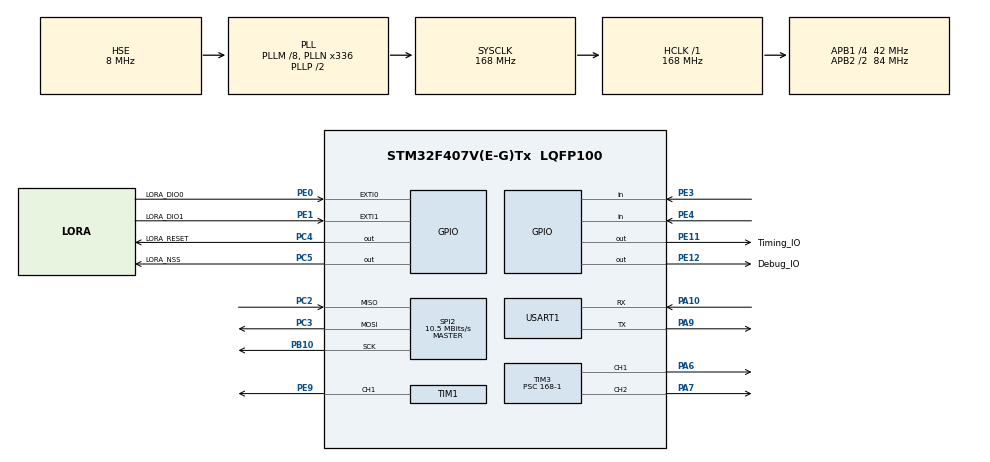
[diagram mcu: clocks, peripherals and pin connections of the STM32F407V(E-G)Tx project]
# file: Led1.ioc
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FREERTOS.Tasks01=MainLogicTask,24,1536,StartMainLogicTask,Default,NULL,Dynamic,NULL,NULL;SerialTask,16,1536,StartSerialTask,Default,NULL,Dynamic,NULL,NULL;LoRaTask,40,1536,StartLoRaTask,Default,NULL,Dynamic,NULL,NULL
FREERTOS.configCHECK_FOR_STACK_OVERFLOW=1
FREERTOS.configMINIMAL_STACK_SIZE=1536
FREERTOS.configTOTAL_HEAP_SIZE=32768
FREERTOS.configUSE_NEWLIB_REENTRANT=1
Mcu.Family=STM32F4
Mcu.Name=STM32F407V(E-G)Tx
Mcu.Package=LQFP100
NVIC.EXTI0_IRQn=true\:5\:0\:false\:false\:true\:true\:true\:true\:true
NVIC.EXTI1_IRQn=true\:5\:0\:false\:false\:true\:true\:true\:true\:true
NVIC.PriorityGroup=NVIC_PRIORITYGROUP_4
NVIC.RTC_WKUP_IRQn=true\:5\:0\:false\:false\:true\:true\:true\:true\:true
NVIC.TIM2_IRQn=true\:5\:0\:false\:false\:true\:true\:true\:true\:true
NVIC.TIM6_DAC_IRQn=true\:0\:0\:true\:false\:true\:false\:false\:true\:true
NVIC.TimeBase=TIM6_DAC_IRQn
NVIC.TimeBaseIP=TIM6
PA10.Mode=Asynchronous
PA10.Signal=USART1_RX
PA6.Signal=S_TIM3_CH1
PA7.Signal=S_TIM3_CH2
PA9.Mode=Asynchronous
PA9.Signal=USART1_TX
PB10.Mode=Full_Duplex_Master
PB10.Signal=SPI2_SCK
PC14-OSC32_IN.GPIO_Label=RTC_IN
PC14-OSC32_IN.Mode=LSE-External-Oscillator
PC14-OSC32_IN.Signal=RCC_OSC32_IN
PC15-OSC32_OUT.GPIO_Label=RTC_OUT
PC15-OSC32_OUT.Mode=LSE-External-Oscillator
PC15-OSC32_OUT.Signal=RCC_OSC32_OUT
PC2.Mode=Full_Duplex_Master
PC2.Signal=SPI2_MISO
PC3.Mode=Full_Duplex_Master
PC3.Signal=SPI2_MOSI
PC4.GPIO_Label=LORA_RESET
PC4.Signal=GPIO_Output
PC5.GPIO_Label=LORA_NSS
PC5.Signal=GPIO_Output
PE0.GPIO_Label=LORA_DIO0
PE0.Signal=GPXTI0
PE1.GPIO_Label=LORA_DIO1
PE1.Signal=GPXTI1
PE11.GPIO_Label=Timing_IO
PE11.Signal=GPIO_Output
PE12.GPIO_Label=Debug_IO
PE12.Signal=GPIO_Output
PE3.GPIO_PuPd=GPIO_PULLUP
PE3.Signal=GPIO_Input
PE4.GPIO_PuPd=GPIO_PULLUP
PE4.Signal=GPIO_Input
PE9.Signal=S_TIM1_CH1
PH0-OSC_IN.Mode=HSE-External-Oscillator
PH0-OSC_IN.Signal=RCC_OSC_IN
PH1-OSC_OUT.Mode=HSE-External-Oscillator
PH1-OSC_OUT.Signal=RCC_OSC_OUT
ProjectManager.HeapSize=0x200
ProjectManager.StackSize=0x400
ProjectManager.TargetToolchain=STM32CubeIDE
RCC.48MHZClocksFreq_Value=84000000
RCC.AHBFreq_Value=168000000
RCC.APB1CLKDivider=RCC_HCLK_DIV4
RCC.APB1Freq_Value=42000000
RCC.APB1TimFreq_Value=84000000
RCC.APB2CLKDivider=RCC_HCLK_DIV2
RCC.APB2Freq_Value=84000000
RCC.APB2TimFreq_Value=168000000
RCC.CortexFreq_Value=168000000
RCC.HCLKFreq_Value=168000000
RCC.HSE_VALUE=8000000
RCC.HSI_VALUE=16000000
RCC.PLLM=8
RCC.PLLN=336
RCC.PLLSourceVirtual=RCC_PLLSOURCE_HSE
RCC.RCC_RTC_Clock_Source=RCC_RTCCLKSOURCE_LSE
RCC.SYSCLKFreq_VALUE=168000000
RCC.SYSCLKSource=RCC_SYSCLKSOURCE_PLLCLK
RCC.VCOOutputFreq_Value=336000000
SH.S_TIM1_CH1.0=TIM1_CH1,PWM Generation1 CH1
SH.S_TIM3_CH1.0=TIM3_CH1,PWM Generation1 CH1
SH.S_TIM3_CH2.0=TIM3_CH2,PWM Generation2 CH2
SPI2.BaudRatePrescaler=SPI_BAUDRATEPRESCALER_4
SPI2.CalculateBaudRate=10.5 MBits/s
SPI2.Direction=SPI_DIRECTION_2LINES
SPI2.Mode=SPI_MODE_MASTER
SPI2.VirtualType=VM_MASTER
TIM1.Channel-PWM\ Generation1\ CH1=TIM_CHANNEL_1
TIM1.Period=999
TIM1.Prescaler=167
TIM1.Pulse-PWM\ Generation1\ CH1=500
TIM2.Period=1000
TIM2.Prescaler=16799
TIM3.Channel-PWM\ Generation1\ CH1=TIM_CHANNEL_1
TIM3.Channel-PWM\ Generation2\ CH2=TIM_CHANNEL_2
TIM3.OCMode_PWM-PWM\ Generation2\ CH2=TIM_OCMODE_PWM1
TIM3.OCPolarity_1=TIM_OCPOLARITY_LOW
TIM3.OCPolarity_2=TIM_OCPOLARITY_LOW
TIM3.Period=1000-1
TIM3.Prescaler=168-1
TIM3.Pulse-PWM\ Generation1\ CH1=5
TIM3.Pulse-PWM\ Generation2\ CH2=25
TIM5.Prescaler=83
USART1.VirtualMode=VM_ASYNC
VP_FREERTOS_VS_CMSIS_V2.Mode=CMSIS_V2
VP_RTC_VS_RTC_Activate.Mode=RTC_Enabled
VP_RTC_VS_RTC_WakeUp_intern.Mode=WakeUp
VP_SYS_VS_tim6.Mode=TIM6
VP_TIM1_VS_ClockSourceINT.Mode=Internal
VP_TIM2_VS_ClockSourceINT.Mode=Internal
VP_TIM5_VS_ClockSourceINT.Mode=Internal
board=custom

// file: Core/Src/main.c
/* USER CODE BEGIN Header */
/**
  ******************************************************************************
  * @file           : main.c
  * @brief          : Main program body
  ******************************************************************************
  * @attention
  *
  * Copyright (c) 2026 STMicroelectronics.
  * All rights reserved.
  *
  * This software is licensed under terms that can be found in the LICENSE file
  * in the root directory of this software component.
  * If no LICENSE file comes with this software, it is provided AS-IS.
  *
  ******************************************************************************
  */
/* USER CODE END Header */
#include "main.h"
#include "cmsis_os.h"
#include "rtc.h"
#include "spi.h"
#include "tim.h"
#include "usart.h"
#include "gpio.h"

/* USER CODE BEGIN Includes */
#include <stdio.h>   // Required for standard serial routing and printf / sprintf utilities
#include <string.h>  // Required for string lengths and array operations
/* USER CODE END Includes */

/* USER CODE BEGIN PV */
// Button State Profiles (Assuming Pull-Up Configuration: 1 = Released)
uint8_t k0_last_state = 1;
uint8_t k1_last_state = 1;

// PWM and Timing Diagnostics Tracking
uint32_t duty_cycle = 500;
uint32_t lastBlinkTime = 0;
uint8_t  ledIsOn = 0;

// The Single Global Source of Truth LoRaWAN Tracking Variable
uint16_t frame_counter = 0;
/* USER CODE END PV */

void SystemClock_Config(void);
void MX_FREERTOS_Init(void);
/* USER CODE BEGIN PFP */
// Wear-Leveled Flash Memory Storage Driver Prototypes
uint16_t Load_Frame_Counter_Wear_Leveled(void);
void Save_Frame_Counter_Wear_Leveled(uint16_t counter);
/* USER CODE END PFP */

/* USER CODE BEGIN 0 */
#ifdef __GNUC__
#define PUTCHAR_PROTOTYPE int __io_putchar(int ch)
#else
#define PUTCHAR_PROTOTYPE int fputc(int ch, FILE *f)
#endif

/**
  * @brief  Retargets the C library printf function to the standard UART pipeline.
  */
PUTCHAR_PROTOTYPE
{
  HAL_UART_Transmit(&huart1, (uint8_t *)&ch, 1, 0xFFFF);
  return ch;
}
/* USER CODE END 0 */

int main(void)
{

  /* MCU Configuration--------------------------------------------------------*/

  /* Reset of all peripherals, Initializes the Flash interface and the Systick. */
  HAL_Init();

  /* Configure the system clock */
  SystemClock_Config();

  /* Initialize all configured peripherals */
  MX_GPIO_Init();
  MX_TIM3_Init();
  MX_USART1_UART_Init();
  MX_TIM1_Init();
  MX_SPI2_Init();
  MX_TIM2_Init();
  MX_RTC_Init();
  MX_TIM5_Init();
  /* USER CODE BEGIN 2 */
// Pristine, safe startup scanner without any task management blocks
printf("\r\n--- [Full-Sector 7 Scanner Active] ---\r\n");
uint32_t active_entries_found = 0;

for (uint32_t i = 0; i < 500; i++) { // Limit scan boundary to first 500 lines to prevent watchdog starvation
    uint32_t addr = 0x08080000 + (i * 2);
    uint16_t raw_value = *(__IO uint16_t*)addr;

    if (raw_value != 0xFFFF) {
        printf("Slot [%05d]: Value = %d\r\n", (int)i, raw_value);
        active_entries_found++;
    } else {
        break; // Stop scanning immediately when hitting the pristine blank line threshold
    }
}
printf("-------------------------------------------\r\n\r\n");

// Call your safe loading function
frame_counter = Load_Frame_Counter_Wear_Leveled();
printf("[LoRa] Recovered Frame Counter from Flash: %d\r\n", frame_counter);
  // ---------------------------------------------------------------

  // This starts the hardware PWM on the specified channels
  HAL_TIM_PWM_Start(&htim1, TIM_CHANNEL_1);
  printf("PWM System Active at 1kHz\r\n");
  HAL_TIM_PWM_Start(&htim3, TIM_CHANNEL_1);
  HAL_TIM_PWM_Start(&htim3, TIM_CHANNEL_2);
  HAL_TIM_Base_Start(&htim5);

  // Enable Clock for Port A
  __HAL_RCC_GPIOA_CLK_ENABLE();

  // Clear the terminal screen and reset cursor (ANSI escape codes)
  printf("\033[2J\033[H");
  printf("=================================\r\n");
	printf("   JL32-F4VE System Initialised  \r\n");
	printf("   PWM Frequency: 1kHz  (PE9)    \r\n");
	printf("=================================\r\n");

  /* USER CODE END 2 */

  /* Init scheduler */
  osKernelInitialize();  /* Call init function for freertos objects (in cmsis_os2.c) */
  MX_FREERTOS_Init();

  /* Start scheduler */
  osKernelStart();

  /* We should never get here as control is now taken by the scheduler */

  /* Infinite loop */
  while (1)
  {

  }
}

void SystemClock_Config(void)
{
  RCC_OscInitTypeDef RCC_OscInitStruct = {0};
  RCC_ClkInitTypeDef RCC_ClkInitStruct = {0};

  /** Configure the main internal regulator output voltage
  */
  __HAL_RCC_PWR_CLK_ENABLE();
  __HAL_PWR_VOLTAGESCALING_CONFIG(PWR_REGULATOR_VOLTAGE_SCALE1);

  /** Initializes the RCC Oscillators according to the specified parameters
  * in the RCC_OscInitTypeDef structure.
  */
  RCC_OscInitStruct.OscillatorType = RCC_OSCILLATORTYPE_HSE|RCC_OSCILLATORTYPE_LSE;
  RCC_OscInitStruct.HSEState = RCC_HSE_ON;
  RCC_OscInitStruct.LSEState = RCC_LSE_ON;
  RCC_OscInitStruct.PLL.PLLState = RCC_PLL_ON;
  RCC_OscInitStruct.PLL.PLLSource = RCC_PLLSOURCE_HSE;
  RCC_OscInitStruct.PLL.PLLM = 8;
  RCC_OscInitStruct.PLL.PLLN = 336;
  RCC_OscInitStruct.PLL.PLLP = RCC_PLLP_DIV2;
  RCC_OscInitStruct.PLL.PLLQ = 4;
  if (HAL_RCC_OscConfig(&RCC_OscInitStruct) != HAL_OK)
  {
    Error_Handler();
  }

  /** Initializes the CPU, AHB and APB buses clocks
  */
  RCC_ClkInitStruct.ClockType = RCC_CLOCKTYPE_HCLK|RCC_CLOCKTYPE_SYSCLK
                              |RCC_CLOCKTYPE_PCLK1|RCC_CLOCKTYPE_PCLK2;
  RCC_ClkInitStruct.SYSCLKSource = RCC_SYSCLKSOURCE_PLLCLK;
  RCC_ClkInitStruct.AHBCLKDivider = RCC_SYSCLK_DIV1;
  RCC_ClkInitStruct.APB1CLKDivider = RCC_HCLK_DIV4;
  RCC_ClkInitStruct.APB2CLKDivider = RCC_HCLK_DIV2;

  if (HAL_RCC_ClockConfig(&RCC_ClkInitStruct, FLASH_LATENCY_5) != HAL_OK)
  {
    Error_Handler();
  }
}

void HAL_TIM_PeriodElapsedCallback(TIM_HandleTypeDef *htim)
{
  if (htim->Instance == TIM6)
  {
    HAL_IncTick();
  }
}

void Error_Handler(void)
{
  __disable_irq();
  while (1)
  {
  }
}

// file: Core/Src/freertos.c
/* USER CODE BEGIN Header */
/**
  ******************************************************************************
  * File Name          : freertos.c
  * Description        : Code for freertos applications
  ******************************************************************************
  * @attention
  *
  * Copyright (c) 2026 STMicroelectronics.
  * All rights reserved.
  *
  * This software is licensed under terms that can be found in the LICENSE file
  * in the root directory of this software component.
  * If no LICENSE file comes with this software, it is provided AS-IS.
  *
  ******************************************************************************
  */
/* USER CODE END Header */

#include "FreeRTOS.h"
#include "task.h"
#include "main.h"
#include "cmsis_os.h"

/* USER CODE BEGIN Includes */
#include <string.h> // For strlen() and standard string handling
#include <stdio.h>  // For sprintf() formatting tracking utilities

// Hardware Handle Linkage from main.c
extern TIM_HandleTypeDef htim1;
extern TIM_HandleTypeDef htim3;
extern TIM_HandleTypeDef htim5;
extern UART_HandleTypeDef huart1;
extern SPI_HandleTypeDef hspi2;
extern RTC_HandleTypeDef hrtc;
extern void SystemClock_Config();

// Shared Hardware State Variables from main.c
extern uint32_t lastBlinkTime;
extern uint8_t  ledIsOn;
extern uint32_t duty_cycle;
extern uint8_t  k0_last_state;
extern uint8_t  k1_last_state;

// Single Source-of-Truth LoRaWAN Frame Counter Variable
extern uint16_t frame_counter;
/* USER CODE END Includes */

/* USER CODE BEGIN PD */
// LoRa RF95 Transceiver Register Map Definitions
#define REG_FIFO                 0x00
#define REG_OP_MODE              0x01
#define REG_FRF_MSB              0x06
#define REG_FRF_MID              0x07
#define REG_FRF_LSB              0x08
#define REG_PA_CONFIG            0x09
#define REG_FIFO_ADDR_PTR        0x0D
#define REG_FIFO_TX_BASE_ADDR    0x0E
#define REG_MODEM_CONFIG_1       0x1D
#define REG_MODEM_CONFIG_2       0x1E
#define REG_PAYLOAD_LENGTH       0x22
#define REG_DIO_MAPPING_1        0x40

// Radio Functional Operational Modes
#define MODE_LONG_RANGE_MODE     0x80
#define MODE_SLEEP               0x00
#define MODE_STDBY               0x01
#define MODE_TX                  0x03
#define MODE_RX_SINGLE					 0x06

// Legacy Alias Support
#define RF95_REG_FIFO            REG_FIFO
#define RF95_REG_OP_MODE         REG_OP_MODE
#define RF95_MODE_TX             MODE_TX
/* USER CODE END PD */

/* USER CODE BEGIN Variables */
typedef enum {
    STATE_INIT,
    STATE_TX,
    STATE_RX1,
    STATE_RX2,
    STATE_SLEEP
} LoraState_t;

static LoraState_t current_state = STATE_INIT;

typedef enum {
    STATE_IDLE,
    STATE_WAITING_FOR_TX,
    STATE_WAITING_FOR_RX
} DIO0_Line_State_t;

volatile DIO0_Line_State_t DIO0_Line_current_state = STATE_IDLE;

const uint32_t eu868_channels[3] = {868100000, 868300000, 868500000};
static uint8_t channel_index = 0;
uint8_t lora_rx_packet_buffer[256];

/* USER CODE END Variables */
/* Definitions for MainLogicTask */
osThreadId_t MainLogicTaskHandle;
const osThreadAttr_t MainLogicTask_attributes = {
  .name = "MainLogicTask",
  .stack_size = 1536 * 4,
  .priority = (osPriority_t) osPriorityNormal,
};
/* Definitions for SerialTask */
osThreadId_t SerialTaskHandle;
const osThreadAttr_t SerialTask_attributes = {
  .name = "SerialTask",
  .stack_size = 1536 * 4,
  .priority = (osPriority_t) osPriorityBelowNormal,
};
/* Definitions for LoRaTask */
osThreadId_t LoRaTaskHandle;
const osThreadAttr_t LoRaTask_attributes = {
  .name = "LoRaTask",
  .stack_size = 1536 * 4,
  .priority = (osPriority_t) osPriorityHigh,
};

/* USER CODE BEGIN FunctionPrototypes */
// Core Radio Driver Commands
void Lora_WriteReg(uint8_t addr, uint8_t val);
uint8_t Lora_ReadReg(uint8_t addr);
void Lora_ReadFIFOVerify(uint8_t *buffer, uint8_t length);
void Lora_SetFrequency(uint32_t frequency_hz);
void LoRa_Extract_FIFO_Payload(uint8_t *rx_buffer, uint8_t *payload_length);

// Wear-Leveled Flash Counter Module Drivers
uint16_t Load_Frame_Counter_Wear_Leveled(void);
void Save_Frame_Counter_Wear_Leveled(uint16_t counter);

// LoRaWAN Cryptographic Libraries Linkage
extern void aes_encrypt_block(const uint8_t *key, const uint8_t *input, uint8_t *output);
extern void calculate_lorawan_mic(uint8_t *packet, uint8_t payload_len, const uint8_t *nwkSKey, uint8_t *mic_out);
extern void encrypt_lorawan_payload(uint8_t *payload, uint8_t payload_len, const uint8_t *appSKey, uint32_t devAddr, uint16_t fCnt);
/* USER CODE END FunctionPrototypes */

void StartMainLogicTask(void *argument);
void StartSerialTask(void *argument);
void StartLoRaTask(void *argument);

void MX_FREERTOS_Init(void); /* (MISRA C 2004 rule 8.1) */

/* Hook prototypes */
void vApplicationStackOverflowHook(xTaskHandle xTask, signed char *pcTaskName);

/* USER CODE BEGIN 4 */
void vApplicationStackOverflowHook(xTaskHandle xTask, signed char *pcTaskName)
{
   /* Run time stack overflow checking is performed if
   configCHECK_FOR_STACK_OVERFLOW is defined to 1 or 2. This hook function is
   called if a stack overflow is detected. */
   for(;;); // Trap context execution here for debugging stack breaks
}
/* USER CODE END 4 */

void MX_FREERTOS_Init(void) {

  /* Create the thread(s) */
  /* creation of MainLogicTask */
  MainLogicTaskHandle = osThreadNew(StartMainLogicTask, NULL, &MainLogicTask_attributes);

  /* creation of SerialTask */
  SerialTaskHandle = osThreadNew(StartSerialTask, NULL, &SerialTask_attributes);

  /* creation of LoRaTask */
  LoRaTaskHandle = osThreadNew(StartLoRaTask, NULL, &LoRaTask_attributes);

}

void StartMainLogicTask(void *argument)
{
  /* USER CODE BEGIN StartMainLogicTask */
  /* Infinite loop */
  for(;;)
  {
  	// 1. BLINK LOGIC (Non-blocking)
    if (HAL_GetTick() - lastBlinkTime >= 500)
    {
        lastBlinkTime = HAL_GetTick();
        ledIsOn = !ledIsOn; // Flip the state

        if (ledIsOn) {
            __HAL_TIM_SET_COMPARE(&htim3, TIM_CHANNEL_1, duty_cycle);
            __HAL_TIM_SET_COMPARE(&htim3, TIM_CHANNEL_2, 0);
        } else {
            __HAL_TIM_SET_COMPARE(&htim3, TIM_CHANNEL_1, 0);
            __HAL_TIM_SET_COMPARE(&htim3, TIM_CHANNEL_2, duty_cycle);
        }
    }

  	// Check K0: Increase Duty
    uint8_t k0_current = HAL_GPIO_ReadPin(GPIOE, GPIO_PIN_4);
    if (k0_current == 0 && k0_last_state == 1) {
        if (duty_cycle <= 950) duty_cycle += 50;
        __HAL_TIM_SET_COMPARE(&htim1, TIM_CHANNEL_1, duty_cycle); // updates PE9
        __HAL_TIM_SET_COMPARE(&htim3, TIM_CHANNEL_1, duty_cycle); // Updates Onboard LED
        printf("Duty Increased: %lu\r\n", duty_cycle);
        osDelay(50); // Debounce
    }
    k0_last_state = k0_current;

    // Check K1: Decrease Duty
    uint8_t k1_current = HAL_GPIO_ReadPin(GPIOE, GPIO_PIN_3);
    if (k1_current == 0 && k1_last_state == 1) {
        if (duty_cycle >= 50) duty_cycle -= 50;
        __HAL_TIM_SET_COMPARE(&htim1, TIM_CHANNEL_1, duty_cycle); // updates PE9
        __HAL_TIM_SET_COMPARE(&htim3, TIM_CHANNEL_1, duty_cycle); // Updates Onboard LED
        printf("Duty Decreased: %lu\r\n", duty_cycle);
        osDelay(50); // Debounce
    }
    k1_last_state = k1_current;

    osDelay(10);
  }
  /* USER CODE END StartMainLogicTask */
}

void StartSerialTask(void *argument)
{
  /* USER CODE BEGIN StartSerialTask */
  /* Infinite loop */
  for(;;)
  {
    char msg[] = "RTOS Heartbeat: System Stable\r\n";
    HAL_UART_Transmit(&huart1, (uint8_t*)msg, strlen(msg), 100);
    osDelay(2000); // Send a message every 2 seconds
  }
  /* USER CODE END StartSerialTask */
}

void StartLoRaTask(void *argument)
{
  /* USER CODE BEGIN StartLoRaTask */

  // secret keys recovered from your dashboard session
  const uint8_t nwkSKey[16] = { 0x15, 0x95, 0x75, 0x32, 0x81, 0xC7, 0x92, 0x28, 0x75, 0x4D, 0x76, 0xA0, 0x1D, 0xA2, 0xFD, 0x7C };
  const uint8_t appSKey[16] = { 0x29, 0x93, 0x62, 0x1E, 0x0C, 0x03, 0xE1, 0xCA, 0x6B, 0x28, 0x45, 0x81, 0x40, 0x45, 0xFB, 0x46 };

  uint8_t packet[64];
  uint8_t idx = 0;
  uint8_t irqFlags = 0;
  uint8_t rx_base;

  /* ==========================================================
   * 🏭 STAGE A: ONE-TIME BOOT UP HARDWARE VALIDATION
   * ========================================================== */
  HAL_GPIO_WritePin(LORA_RESET_GPIO_Port, LORA_RESET_Pin, GPIO_PIN_RESET);
  osDelay(10); // 10 ms delay
  HAL_GPIO_WritePin(LORA_RESET_GPIO_Port, LORA_RESET_Pin, GPIO_PIN_SET);
  osDelay(10); // 10 ms delay (requirement is at least 5ms before accessing chip

  // Confirm SPI Interface is working
  uint8_t version = Lora_ReadReg(0x42);
  if (version != 0x12) {
      HAL_UART_Transmit(&huart1, (uint8_t*)"[LoRa] ERROR: Radio core not found!\r\n", 37, 100);
      for(;;) { osDelay(1000); }
  }

  // Baseline modem register alignments
  Lora_WriteReg(REG_OP_MODE, MODE_LONG_RANGE_MODE | MODE_SLEEP);	// put into sleep mode
  osDelay(10);

  Lora_WriteReg(REG_FIFO_TX_BASE_ADDR, 0x00);	// Reset FIFOs
  Lora_WriteReg(REG_FIFO_ADDR_PTR, 0x00);			// Reset FIFOs
  Lora_WriteReg(REG_MODEM_CONFIG_1, 0x70); 		// 125kHz, CR 4/5
  Lora_WriteReg(REG_MODEM_CONFIG_2, 0x74); 		// SF7, CRC On
  Lora_WriteReg(REG_PA_CONFIG, 0x80);      		// low power for ttg-68 in same room - was 0x8F (PA_BOOST Enabled, Max Power)

  /* ==========================================================
   * 🔄 STAGE B: THE CORE OS STATE ENGINE LOOP
   * ========================================================== */
  for(;;)
  {
      switch(current_state) {

          case STATE_INIT:
              HAL_UART_Transmit(&huart1, (uint8_t*)"\r\n[LoRa] -> State: INIT. Staging payload...\r\n", 46, 100);

              // Dynamic cleanup resets to avoid registration lockups
              Lora_WriteReg(REG_OP_MODE, MODE_LONG_RANGE_MODE | MODE_STDBY);
              osDelay(5);
              Lora_WriteReg(0x12, 0xFF); // Clear all stale flags

              // Pull frequency from your dynamic channel array
              uint32_t active_tx_frequency = eu868_channels[channel_index];
              Lora_SetFrequency(active_tx_frequency);

              // Align operational modes for Transmission
              Lora_WriteReg(REG_DIO_MAPPING_1, 0x40); // Map DIO0 to TxDone
              Lora_WriteReg(0x33, 0x27);              // Normal IQ for TX
              Lora_WriteReg(0x3B, 0x1D);							// RegInvertIq2 standard default <-- ADDED FOR SX1276 RESET

              // Assemble the exact framework
              idx = 0;
              uint8_t dev_addr[4] = { 0x2D, 0x61, 0x00, 0x27 }; // 2700612D LSB Array format

              packet[idx++] = 0x40;        // MHDR: Confirmed Uplink Type (Forced Gateway ACK Request)
              packet[idx++] = dev_addr[0];
              packet[idx++] = dev_addr[1];
              packet[idx++] = dev_addr[2];
              packet[idx++] = dev_addr[3];
              packet[idx++] = 0x00;        // FCtrl
              packet[idx++] = (frame_counter & 0xFF);
              packet[idx++] = ((frame_counter >> 8) & 0xFF);
              packet[idx++] = 0x01;        // FPort

              // Staging application tracking structures
              uint8_t app_payload[16];
              strcpy((char*)app_payload, "HELLO0");
              uint8_t app_payload_len = strlen((char*)app_payload);

              // Encrypt data inline
              encrypt_lorawan_payload(app_payload, app_payload_len, appSKey, *(uint32_t*)dev_addr, frame_counter);

              // Fix: Append matching exact variable lengths dynamically
              for(uint8_t i = 0; i < app_payload_len; i++) {
                  packet[idx++] = app_payload[i];
              }

              // Evaluate MIC Signature
              uint8_t payload_len_before_mic = idx;
              uint8_t real_mic[4];
              calculate_lorawan_mic(packet, payload_len_before_mic, nwkSKey, real_mic);

              packet[idx++] = real_mic[0];
              packet[idx++] = real_mic[1];
              packet[idx++] = real_mic[2];
              packet[idx++] = real_mic[3];

              // Push array payload to hardware FIFO
              Lora_WriteReg(REG_FIFO_ADDR_PTR, 0x00);
              Lora_WriteReg(REG_PAYLOAD_LENGTH, idx);
              for(uint8_t i = 0; i < idx; i++) {
                  Lora_WriteReg(REG_FIFO, packet[i]);
              }

              // --- FIFO Verification Diagnostic Block ---
              Lora_WriteReg(REG_FIFO_ADDR_PTR, 0x00);
              uint8_t readback_verify[64] = {0};
              Lora_ReadFIFOVerify(readback_verify, idx);

              char uart_buf[100];
              HAL_UART_Transmit(&huart1, (uint8_t*)"--- [LoRa FIFO Check] ---\r\n", 27, 100);
              for(uint8_t i = 0; i < idx; i++) {
                  sprintf(uart_buf, "Byte [%02d]: Written=0x%02X | RadioHas=0x%02X\r\n", i, packet[i], readback_verify[i]);
                  HAL_UART_Transmit(&huart1, (uint8_t*)uart_buf, strlen(uart_buf), 100);
              }
              HAL_UART_Transmit(&huart1, (uint8_t*)"---------------------------\r\n", 29, 100);

              Lora_WriteReg(REG_FIFO_ADDR_PTR, 0x00); // Re-zero tracking index
              // ------------------------------------------

              HAL_UART_Transmit(&huart1, (uint8_t*)"[LoRa] -> Broadcasting Styled Frame...\r\n", 39, 100);

              // Shift state and fire
              current_state = STATE_TX;

              DIO0_Line_current_state = STATE_WAITING_FOR_TX;

              Lora_WriteReg(REG_OP_MODE, MODE_LONG_RANGE_MODE | MODE_TX); // actually transmit packet

              break;

					case STATE_TX:
					    // 1. Synchronously wait for the physical transmission to clear the airwaves (PE0 / EXTI0)
					    ulTaskNotifyTake(pdTRUE, portMAX_DELAY);

              // 3. Acknowledge and clear the hardware radio TX flag
					    Lora_WriteReg(0x12, 0x08);

					    //HAL_UART_Transmit(&huart1, (uint8_t*)"[LoRa] -> State: TX Done. Scheduling low-power 980ms wait...\r\n", 61, 100);

						  // 4. Shift modem parameters over to Receive mappings while in Standby (Standby mode is entered in automatically by the SX1276 when the irq TXDone is received
					    Lora_WriteReg(REG_DIO_MAPPING_1, 0x00); // Re-map DIO0 to watch for RxDone
					    Lora_WriteReg(0x33, 0x66);              // Invert IQ for gateway synchronization
					    Lora_WriteReg(0x3B, 0x19);              // Invert IQ 2 (SX1276 critical patch)

					    // 5. FIX: Hard-write 0x1E instead of read-modifying to prevent Spreading Factor corruption.
					    // 0x73 = Spreading Factor 7 (0x70) | No continuous mode (0x00) | No Rx CRC (0x00) | SymbTimeout MSB (0x00)
					    Lora_WriteReg(0x1E, 0x70);
					    Lora_WriteReg(0x1F, 0x10);

					    // 6. FIX: Reset the internal FIFO pointer to the RX base address before listening
					    rx_base = Lora_ReadReg(0x0F); 					// Read RegFifoRxBaseAddr
					    Lora_WriteReg(0x0D, rx_base);			      // Reset RegFifoAddrPtr to base point

					    // 7. THE 980ms FIRST SLEEP PHASE: Wait for the RTC alarm clock to ring

					    // Snapshot the total elapsed time (includes context switch + all SPI operations above)
			        uint32_t elapsed_processing_time_us = __HAL_TIM_GET_COUNTER(&htim5);
			        HAL_TIM_Base_Stop(&htim5); // Sßtop stopwatch

			        const uint32_t TARGET_WINDOW_US = 1000000;     // 1.000000 second target
			        const uint32_t STM32F4_WAKEUP_LATENCY_US = 30;  // Datasheet constant

			        // Calculate exact remaining deep-sleep duration needed
			        uint32_t actual_sleep_needed_us = TARGET_WINDOW_US - elapsed_processing_time_us - STM32F4_WAKEUP_LATENCY_US;

			        // Convert microseconds to precise LSE 2048Hz ticks
			        uint32_t dynamic_rtc_ticks = (actual_sleep_needed_us * 2048) / 1000000;

			   //     printf("dynamic_rtc_ticks = %ld \r\n", dynamic_rtc_ticks);

				//        vTaskDelay(pdMS_TO_TICKS(60000));

							if (HAL_RTCEx_SetWakeUpTimer_IT(&hrtc, dynamic_rtc_ticks, /*dynamic_rtc_ticks,*/ RTC_WAKEUPCLOCK_RTCCLK_DIV16) != HAL_OK)
					    {
					        Error_Handler();
				    	}

						//  if (HAL_RTCEx_SetWakeUpTimer_IT(&hrtc, 2047, RTC_WAKEUPCLOCK_RTCCLK_DIV16) != HAL_OK)
					 //   {
					 //       Error_Handler();
					 //   }

					        // Clear all pending flags before sleeping
    					__HAL_RTC_WAKEUPTIMER_CLEAR_FLAG(&hrtc, RTC_FLAG_WUTF);
    					__HAL_RTC_WAKEUPTIMER_EXTI_CLEAR_FLAG();
    					__HAL_PWR_CLEAR_FLAG(PWR_FLAG_WU);

					    vTaskSuspendAll();
					    HAL_SuspendTick(); // <-- ADD THIS to stop the 1ms system timer from waking the CPU

					    uint32_t systick_ctrl_backup = SysTick->CTRL;
    					SysTick->CTRL &= ~(SysTick_CTRL_ENABLE_Msk | SysTick_CTRL_TICKINT_Msk);

					    __disable_irq();

					    HAL_PWR_EnterSTOPMode(PWR_LOWPOWERREGULATOR_ON, PWR_STOPENTRY_WFI);

					    // ====================================================================
					    // WAKEUP EVENT 1: The 980ms RTC Alarm expires! The MCU resumes here.
					    // ====================================================================
					    SystemClock_Config();

					    // --- RESTORE SYSTICK PERIPHERAL ---
    					SysTick->CTRL = systick_ctrl_backup;

					    __enable_irq();
					    HAL_ResumeTick();
					    xTaskResumeAll();

					    HAL_RTCEx_DeactivateWakeUpTimer(&hrtc);

						   // 7. Strobe the radio into active single-receive mode
					    Lora_WriteReg(REG_OP_MODE, MODE_LONG_RANGE_MODE | MODE_RX_SINGLE);

					    // drive debug pin low
              HAL_GPIO_WritePin(Debug_IO_GPIO_Port, Debug_IO_Pin, GPIO_PIN_RESET);
              // drive timing pin low
              HAL_GPIO_WritePin(Timing_IO_GPIO_Port, Timing_IO_Pin, GPIO_PIN_SET);

							// Update state so the next DIO0 interrupt is processed as an RX packet
							DIO0_Line_current_state = STATE_WAITING_FOR_RX;

					    HAL_UART_Transmit(&huart1, (uint8_t*)"[LoRa] -> RTC Alert! Opening RX1 window precisely on time...\r\n", 61, 100);

					    // --- NEW DIAGNOSTIC READBACK BLOCK ---
					    uint8_t verified_mode = Lora_ReadReg(0x01); // Read REG_OP_MODE
					    uint8_t verified_flags = Lora_ReadReg(0x12); // Read REG_IRQ_FLAGS

					    char debug_msg[128];
					    int debug_len = snprintf(debug_msg, sizeof(debug_msg),
					                             "[LoRa Diagnostic] Mode Reg: 0x%02X | IRQ Flags: 0x%02X\r\n",
					                             verified_mode, verified_flags);

					    HAL_UART_Transmit(&huart1, (uint8_t*)debug_msg, debug_len, 100);
					    // -------------------------------------

					    // Move state pointer forward to the receive state
					    current_state = STATE_RX1;
					    break;

				 case STATE_RX1:
				    // 1. THE SECOND SLEEP PHASE: Safely lock the MCU core down *inside* the state itself
				    vTaskSuspendAll();
				    HAL_PWR_EnterSTOPMode(PWR_LOWPOWERREGULATOR_ON, PWR_STOPENTRY_WFI);

				    // ====================================================================
				    // WAKEUP EVENT 2: Radio physically asserts PE0 (RxDone) or PE1 (RxTimeout)!
				    // ====================================================================
				    SystemClock_Config(); // Restore full CPU operational speeds
				    HAL_ResumeTick();

    // FIX 1: Allow the analog PLL crystal circuits a clean moment to lock
    HAL_Delay(5);

    // FIX 2: Force a refresh of the peripheral clocks (especially SPI and GPIO)
  __HAL_RCC_GPIOE_CLK_ENABLE();
  __HAL_RCC_GPIOC_CLK_ENABLE();
  __HAL_RCC_GPIOH_CLK_ENABLE();
  __HAL_RCC_GPIOA_CLK_ENABLE();
  __HAL_RCC_GPIOB_CLK_ENABLE();
    __HAL_RCC_SPI2_CLK_ENABLE();

    xTaskResumeAll();
    HAL_RTCEx_DeactivateWakeUpTimer(&hrtc);

				    // 2. Consume the pending FreeRTOS task notification variables cleanly
				    ulTaskNotifyTake(pdTRUE, portMAX_DELAY);

				    // 3. Capture and reset radio flags immediately to release the physical hardware lines
				    irqFlags = Lora_ReadReg(0x12);
				    Lora_WriteReg(0x12, 0xFF);

				    // 4. Evaluate matching metrics (PayloadReady is High, PayloadCrcError is Low)
				    if ((irqFlags & 0x40) && !(irqFlags & 0x20))
				    {
				        HAL_UART_Transmit(&huart1, (uint8_t*)"[LoRa] -> State: RX1 SUCCESS! Valid ACK packet caught.\r\n", 56, 100);

				        uint8_t payload_length = Lora_ReadReg(0x13); // RegRxNbBytes

				        if (payload_length > 0 && payload_length <= 256)
				        {
				            uint8_t current_fifo_addr = Lora_ReadReg(0x10); // RegFifoRxCurrentAddr
				            Lora_WriteReg(0x0D, current_fifo_addr);         // RegFifoAddrPtr

				            for (uint8_t i = 0; i < payload_length; i++)
				            {
				                lora_rx_packet_buffer[i] = Lora_ReadReg(0x00); // RegFifo
				            }

				            char hex_print_buf[128];
				            int len = snprintf(hex_print_buf, sizeof(hex_print_buf), "[LoRa] Extracted %d bytes: ", payload_length);
				            HAL_UART_Transmit(&huart1, (uint8_t*)hex_print_buf, len, 100);

				            for (uint8_t i = 0; i < payload_length; i++)
				            {
				                len = snprintf(hex_print_buf, sizeof(hex_print_buf), "%02X ", lora_rx_packet_buffer[i]);
				                HAL_UART_Transmit(&huart1, (uint8_t*)hex_print_buf, len, 100);
				            }
				            HAL_UART_Transmit(&huart1, (uint8_t*)"\r\n", 2, 100);
				        }
				        // Return to Sleep to wait for next transmit
                Lora_WriteReg(0x01, 0x80 | 0x01);     // Force Standby mode
                rx_base = Lora_ReadReg(0x0F); 				// Read RegFifoRxBaseAddr
                Lora_WriteReg(0x0D, rx_base);         // Reset RegFifoAddrPtr to base point
				        current_state = STATE_SLEEP;
            }
            else if (irqFlags & 0x20)
            {
                HAL_UART_Transmit(&huart1, (uint8_t*)"[LoRa] -> State: RX1 Packet caught but failed CRC.\r\n", 52, 100);

                // Handle CRC failure by routing to sleep normally
                Lora_WriteReg(0x01, 0x80 | 0x01);     // Force Standby mode
                rx_base = Lora_ReadReg(0x0F); 				// Read RegFifoRxBaseAddr
                Lora_WriteReg(0x0D, rx_base);         // Reset RegFifoAddrPtr to base point
                current_state = STATE_RX2;
            }
            else
            {
                // --- ROUTE TIMEOUT TO RX2 INSTEAD OF SLEEP ---
                HAL_UART_Transmit(&huart1, (uint8_t*)"[LoRa] -> RX1 Timeout. Pivoting to RX2 (869.525MHz, SF9)...\r\n", 59, 100);

                // Move to Standby briefly to change config registers safely
                Lora_WriteReg(0x01, 0x80 | 0x01);

                // Reprogram to mandatory EU868 RX2 fixed frequency
                Lora_SetFrequency(869525000);

                // Set Spreading Factor 9 (SF9) for RX2 window
                Lora_WriteReg(0x1E, 0x93);
                Lora_WriteReg(0x1F, 0xFF);

                // Reset FIFO memory pointers to base RX block
                uint8_t rx_base_addr = Lora_ReadReg(0x0F);
                Lora_WriteReg(0x0D, rx_base_addr);

                // Strobe the radio receiver into active single-receive mode
                Lora_WriteReg(REG_OP_MODE, MODE_LONG_RANGE_MODE | MODE_RX_SINGLE);
                HAL_Delay(2); // Let fractional-N synthesizer lock onto 869.525MHz

                // Update state machine pointer to look at the new block next loop
                current_state = STATE_RX2;
             }

             DIO0_Line_current_state = STATE_IDLE;

             break; // Master break cleanly exits STATE_RX1

          case STATE_RX2:
              // 1. THE LOW-POWER WAITING PHASE: Suspend task ticks and sleep the STM32F4 core
              vTaskSuspendAll();
              HAL_PWR_EnterSTOPMode(PWR_LOWPOWERREGULATOR_ON, PWR_STOPENTRY_WFI);

              // ====================================================================
              // PHYSICAL WAKEUP: PE0 (RxDone) or PE1 (RxTimeout) asserts for RX2!
              // ====================================================================
              SystemClock_Config(); // Instantly restore 168MHz HSE + PLL clock trees
              HAL_ResumeTick();
              xTaskResumeAll();

              // 2. Safely consume the pending FreeRTOS task notification flag
              ulTaskNotifyTake(pdTRUE, portMAX_DELAY);

              // 3. Read and clear active radio flags to drop physical PE0/PE1 lines
              irqFlags = Lora_ReadReg(0x12);
              Lora_WriteReg(0x12, 0xFF);

              // 4. Evaluate RX2 packet metrics (PayloadReady is High, PayloadCrcError is Low)
              if ((irqFlags & 0x40) && !(irqFlags & 0x20))
              {
                  HAL_UART_Transmit(&huart1, (uint8_t*)"[LoRa] -> State: RX2 SUCCESS! Valid Downlink Caught.\r\n", 55, 100);

                  uint8_t payload_length = Lora_ReadReg(0x13); // RegRxNbBytes

                  if (payload_length > 0 && payload_length <= 256)
                  {
                      uint8_t current_fifo_addr = Lora_ReadReg(0x10);
                      Lora_WriteReg(0x0D, current_fifo_addr);

                      for (uint8_t i = 0; i < payload_length; i++) {
                          lora_rx_packet_buffer[i] = Lora_ReadReg(0x00);
                      }

                      char hex_print_buf[128];
                      int len = snprintf(hex_print_buf, sizeof(hex_print_buf), "[LoRa RX2] Extracted %d bytes: ", payload_length);
                      HAL_UART_Transmit(&huart1, (uint8_t*)hex_print_buf, len, 100);

                      for (uint8_t i = 0; i < payload_length; i++) {
                          len = snprintf(hex_print_buf, sizeof(hex_print_buf), "%02X ", lora_rx_packet_buffer[i]);
                          HAL_UART_Transmit(&huart1, (uint8_t*)hex_print_buf, len, 100);
                      }
                      HAL_UART_Transmit(&huart1, (uint8_t*)"\r\n", 2, 100);
                  }
              }
              // 5. Handle standard RX2 window timeout or frame corruption closures
              else
              {
                  HAL_UART_Transmit(&huart1, (uint8_t*)"[LoRa] -> State: RX2 Closed (Timeout/No Response).\r\n", 52, 100);
              }

              // 6. HARDWARE CLEANUP: Put the radio back to standby mode
              Lora_WriteReg(0x01, 0x80 | 0x01);

              // 7. MANDATORY CRITICAL PROTOCOL FIX: Re-read the active dynamic channel frequency
              // and update the radio register right now. If you omit this, your next transmission
              // will accidentally broadcast on 869.525MHz, resulting in network drops.
              active_tx_frequency = eu868_channels[channel_index];
              Lora_SetFrequency(active_tx_frequency);

              // Restore Spreading Factor 7 default settings for your upcoming transmission sequences
              Lora_WriteReg(0x1E, 0x73);

              // 8. Safely advance to your 30-second low-power cooldown state
              current_state = STATE_SLEEP;
              break;

          case STATE_SLEEP:
              HAL_UART_Transmit(&huart1, (uint8_t*)"[LoRa] -> State: SLEEP. Incrementing frame counter an powering down radio for 30s...\r\n", 56, 100);

              // Save current counter to maintain timeline accuracy
					    Save_Frame_Counter_Wear_Leveled(frame_counter);
					    frame_counter++;

              // Drop radio core down to micro-amps
              Lora_WriteReg(REG_OP_MODE, MODE_LONG_RANGE_MODE | MODE_SLEEP);

              // Cycle channel pointer for the upcoming iteration loop
              channel_index++;
              if (channel_index >= 3) {
                  channel_index = 0;
              }

              // Sleep the FreeRTOS task completely (set to 30s loop interval for verification)
              osDelay(pdMS_TO_TICKS(120000UL));

              // Return to init phase to restart hands-free
              current_state = STATE_INIT;
              break;
      }
  }
  /* USER CODE END StartLoRaTask */
}

/* USER CODE BEGIN Application */

// Write to a register
void Lora_WriteReg(uint8_t addr, uint8_t val) {
    uint8_t data[2] = { (uint8_t)(addr | 0x80), val }; // Cast and format for SPI
    HAL_GPIO_WritePin(LORA_NSS_GPIO_Port, LORA_NSS_Pin, GPIO_PIN_RESET);
    HAL_SPI_Transmit(&hspi2, data, 2, 100);
    HAL_GPIO_WritePin(LORA_NSS_GPIO_Port, LORA_NSS_Pin, GPIO_PIN_SET);
}

// Read from a register
uint8_t Lora_ReadReg(uint8_t addr) {
    uint8_t addr_byte = addr & 0x7F; // MSB low for Read
    uint8_t val = 0;
    HAL_GPIO_WritePin(LORA_NSS_GPIO_Port, LORA_NSS_Pin, GPIO_PIN_RESET);
    HAL_SPI_Transmit(&hspi2, &addr_byte, 1, 100);
    HAL_SPI_Receive(&hspi2, &val, 1, 100);
    HAL_GPIO_WritePin(LORA_NSS_GPIO_Port, LORA_NSS_Pin, GPIO_PIN_SET);
    return val;
}

// This function automatically fires the exact millisecond a packet leaves the antenna or a timeout occurs
void HAL_GPIO_EXTI_Callback(uint16_t GPIO_Pin)
{
	//  if (GPIO_Pin == LORA_DIO0_Pin || GPIO_Pin == LORA_DIO1_Pin)
  ///  {
  //      // Explicitly drop Channel 2 (Debug_IO) the microsecond the radio fires
   //     HAL_GPIO_WritePin(Timing_IO_GPIO_Port, Timing_IO_Pin, GPIO_PIN_RESET);
   //ß }

    if (GPIO_Pin == LORA_DIO0_Pin) // Check if the interrupt came from PE0 (RxDone / TxDone)
    {
    	  if (DIO0_Line_current_state == STATE_WAITING_FOR_TX)
        {

            // Start your microsecond stopwatch right here
            __HAL_TIM_SET_COUNTER(&htim5, 0);
            HAL_TIM_Base_Start(&htim5);

            // Drive gpio pin high - this is our 0s timing point
            HAL_GPIO_WritePin(Debug_IO_GPIO_Port, Debug_IO_Pin, GPIO_PIN_SET);

        }

        BaseType_t xHigherPriorityTaskWoken = pdFALSE;

        // ONLY notify the waiting FreeRTOS task. Do no SPI, do no UART!
        if (LoRaTaskHandle != NULL) {
            vTaskNotifyGiveFromISR(LoRaTaskHandle, &xHigherPriorityTaskWoken);
        }

        // Force FreeRTOS to instantly switch to the LoRa task if it has high priority
        portYIELD_FROM_ISR(xHigherPriorityTaskWoken);
    }
    // --- ADD THIS NEW BLOCK TO CATCH THE TIMEOUT ---
    else if (GPIO_Pin == LORA_DIO1_Pin) // Check if the interrupt came from PE1 (RxTimeout)
    {
        BaseType_t xHigherPriorityTaskWoken = pdFALSE;

        if (LoRaTaskHandle != NULL) {
            vTaskNotifyGiveFromISR(LoRaTaskHandle, &xHigherPriorityTaskWoken);
        }

        portYIELD_FROM_ISR(xHigherPriorityTaskWoken);
    }
}

/**
 * @brief  Reads back the contents of the radio's TX FIFO to verify exactly
 *         what bytes are staged for transmission.
 * @param  buffer: Pointer to an array where the read-back bytes will be stored
 * @param  length: Total number of bytes to read back (should equal your 'idx' variable)
 */
void Lora_ReadFIFOVerify(uint8_t *buffer, uint8_t length) {
    uint8_t addr_byte = 0x00 & 0x7F; // REG_FIFO (0x00) with Read Bit (MSB = 0)

    // Use your actual working LoRa CS labels suggested by the compiler
    HAL_GPIO_WritePin(LORA_NSS_GPIO_Port, LORA_NSS_Pin, GPIO_PIN_RESET);

    // Send register address byte over your operational SPI link
    HAL_SPI_Transmit(&hspi2, &addr_byte, 1, HAL_MAX_DELAY);

    // Read the array block out of the radio memory
    HAL_SPI_Receive(&hspi2, buffer, length, HAL_MAX_DELAY);

    // Pull CS back High to end transaction
    HAL_GPIO_WritePin(LORA_NSS_GPIO_Port, LORA_NSS_Pin, GPIO_PIN_SET);
}

// Pure integer frequency configuration math
void Lora_SetFrequency(uint32_t frequency_hz)
{
    uint32_t frf = (uint32_t)(((uint64_t)frequency_hz * 16384) / 1000000);
    Lora_WriteReg(REG_FRF_MSB, (uint8_t)((frf >> 16) & 0xFF));
    Lora_WriteReg(REG_FRF_MID, (uint8_t)((frf >> 8)  & 0xFF));
    Lora_WriteReg(REG_FRF_LSB, (uint8_t)(frf         & 0xFF));
}

#define REG_FIFO           0x00
#define REG_FIFO_ADDR_PTR  0x0D
#define REG_FIFO_RX_CURR   0x10
#define REG_RX_NB_BYTES    0x13

void LoRa_Extract_FIFO_Payload(uint8_t *rx_buffer, uint8_t *payload_length)
{
    // 1. Check how many bytes the gateway actually dropped into our radio
    *payload_length = Lora_ReadReg(REG_RX_NB_BYTES);

    // Safety check to ensure we don't overflow an array
    if (*payload_length == 0 || *payload_length > 64) {
        return;
    }

    // 2. Fetch the starting memory address of the last received packet
    uint8_t current_fifo_addr = Lora_ReadReg(REG_FIFO_RX_CURR);

    // 3. Force the internal SPI pointer to hop to that specific location
    Lora_WriteReg(REG_FIFO_ADDR_PTR, current_fifo_addr);

    // 4. Sequentially read the bytes directly out of the FIFO register stream
    for (uint8_t i = 0; i < *payload_length; i++) {
        rx_buffer[i] = Lora_ReadReg(REG_FIFO);
    }
}

/* USER CODE END Application */
